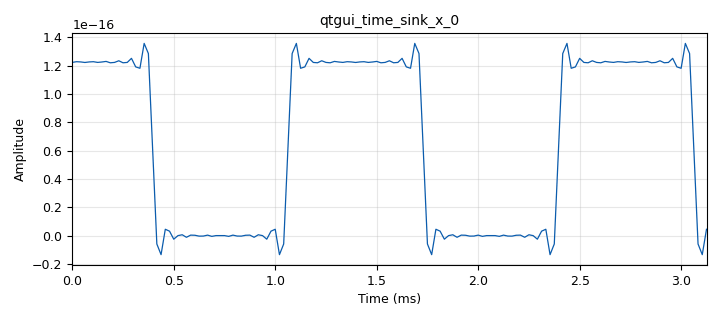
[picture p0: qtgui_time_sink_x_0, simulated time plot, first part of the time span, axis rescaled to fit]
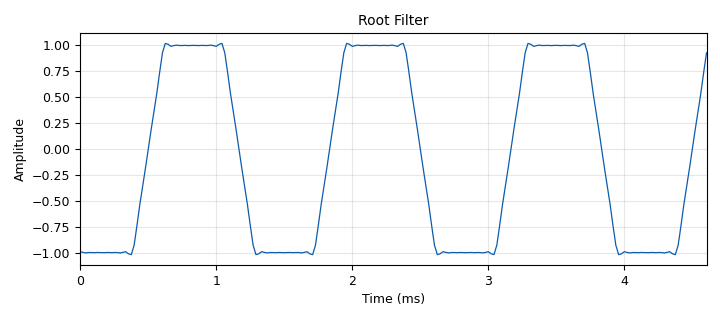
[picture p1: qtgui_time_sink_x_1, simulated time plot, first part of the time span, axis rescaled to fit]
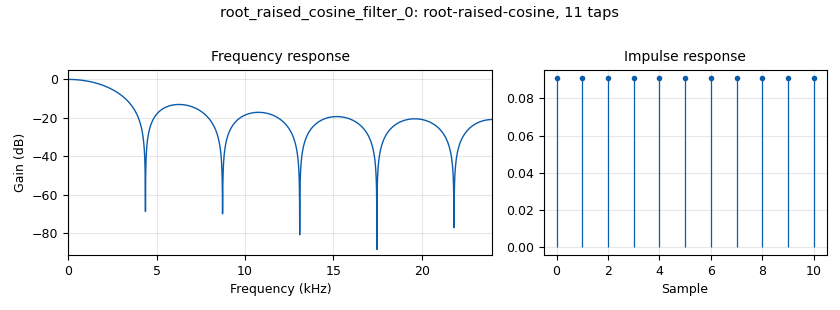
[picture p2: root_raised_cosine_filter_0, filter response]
<?xml version='1.0' encoding='utf-8'?>
<?grc format='1' created='3.7.13'?>
<flow_graph>
<block>
<key>options</key>
<param><key>id</key><value>top_block</value></param>
<param><key>generate_options</key><value>qt_gui</value></param>
</block>
<block>
<key>variable</key>
<param><key>id</key><value>samp_rate</value></param>
<param><key>value</key><value>48000</value></param>
</block>
<block>
<key>blocks_complex_to_float</key>
<param><key>id</key><value>blocks_complex_to_float_0</value></param>
</block>
<block>
<key>blocks_throttle</key>
<param><key>id</key><value>blocks_throttle_0</value></param>
<param><key>samples_per_second</key><value>samp_rate</value></param>
<param><key>type</key><value>float</value></param>
</block>
<block>
<key>blocks_vector_source_x</key>
<param><key>id</key><value>blocks_vector_source_x_0</value></param>
<param><key>type</key><value>byte</value></param>
<param><key>repeat</key><value>True</value></param>
<param><key>vector</key><value>(0, 1, 0, 1)</value></param>
</block>
<block>
<key>digital_dxpsk_mod</key>
<param><key>id</key><value>digital_dxpsk_mod_0</value></param>
<param><key>excess_bw</key><value>0.35</value></param>
<param><key>mod_code</key><value>"gray"</value></param>
<param><key>log</key><value>False</value></param>
<param><key>samples_per_symbol</key><value>2</value></param>
<param><key>type</key><value>dbpsk</value></param>
<param><key>verbose</key><value>False</value></param>
</block>
<block>
<key>qtgui_time_sink_x</key>
<param><key>id</key><value>qtgui_time_sink_x_0</value></param>
<param><key>color1</key><value>"blue"</value></param>
<param><key>label1</key><value></value></param>
<param><key>size</key><value>1024</value></param>
<param><key>srate</key><value>samp_rate</value></param>
<param><key>type</key><value>float</value></param>
</block>
<block>
<key>qtgui_time_sink_x</key>
<param><key>id</key><value>qtgui_time_sink_x_1</value></param>
<param><key>color1</key><value>"blue"</value></param>
<param><key>label1</key><value></value></param>
<param><key>name</key><value>Root Filter</value></param>
<param><key>size</key><value>1024</value></param>
<param><key>srate</key><value>samp_rate</value></param>
<param><key>type</key><value>float</value></param>
</block>
<block>
<key>root_raised_cosine_filter</key>
<param><key>id</key><value>root_raised_cosine_filter_0</value></param>
<param><key>alpha</key><value>0.25</value></param>
<param><key>decim</key><value>1</value></param>
<param><key>type</key><value>fir_filter_fff</value></param>
<param><key>gain</key><value>1</value></param>
<param><key>ntaps</key><value>10</value></param>
<param><key>samp_rate</key><value>samp_rate</value></param>
<param><key>sym_rate</key><value>1.0</value></param>
</block>
<connection><source_block_id>blocks_complex_to_float_0</source_block_id><sink_block_id>qtgui_time_sink_x_0</sink_block_id><source_key>1</source_key><sink_key>0</sink_key></connection>
<connection><source_block_id>blocks_complex_to_float_0</source_block_id><sink_block_id>root_raised_cosine_filter_0</sink_block_id><source_key>0</source_key><sink_key>0</sink_key></connection>
<connection><source_block_id>blocks_throttle_0</source_block_id><sink_block_id>qtgui_time_sink_x_1</sink_block_id><source_key>0</source_key><sink_key>0</sink_key></connection>
<connection><source_block_id>blocks_vector_source_x_0</source_block_id><sink_block_id>digital_dxpsk_mod_0</sink_block_id><source_key>0</source_key><sink_key>0</sink_key></connection>
<connection><source_block_id>digital_dxpsk_mod_0</source_block_id><sink_block_id>blocks_complex_to_float_0</sink_block_id><source_key>0</source_key><sink_key>0</sink_key></connection>
<connection><source_block_id>root_raised_cosine_filter_0</source_block_id><sink_block_id>blocks_throttle_0</sink_block_id><source_key>0</source_key><sink_key>0</sink_key></connection>
</flow_graph>
